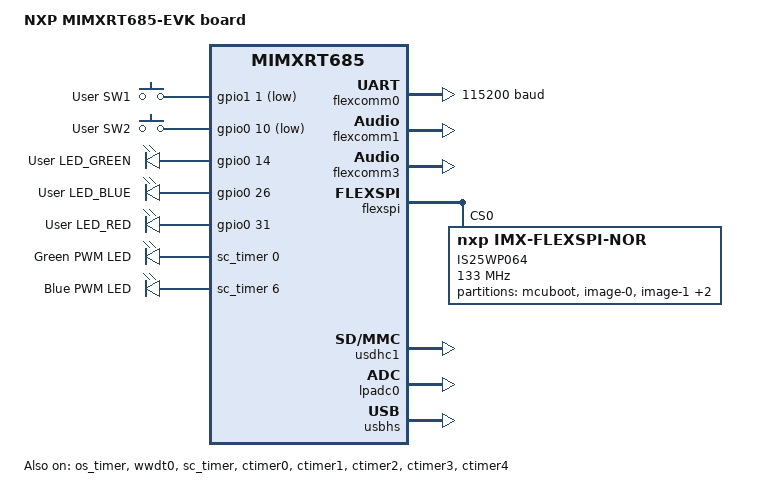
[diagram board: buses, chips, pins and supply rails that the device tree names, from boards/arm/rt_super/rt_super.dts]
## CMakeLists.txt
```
# SPDX-License-Identifier: Apache-2.0


cmake_minimum_required(VERSION 3.13.1)

find_package(Zephyr REQUIRED HINTS $ENV{ZEPHYR_BASE})

project(hello_world)
target_sources(app PRIVATE src/main.c)
```

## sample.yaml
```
sample:
  description: Hello World sample, the simplest Zephyr
    application
  name: hello world
common:
    tags: introduction
    integration_platforms:
      - native_posix
    harness: console
    harness_config:
      type: one_line
      regex:
        - "Hello World! (.*)"
tests:
  sample.basic.helloworld:
    tags: introduction
```

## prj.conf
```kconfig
CONFIG_SHELL_PROMPT_UART="rt_super>"
CONFIG_SHELL_PROMPT_RTT=""

CONFIG_SHELL=y
CONFIG_UART_CONSOLE=n
CONFIG_RTT_CONSOLE=y
CONFIG_USE_SEGGER_RTT=y
CONFIG_SHELL_BACKEND_RTT=y

CONFIG_LOG=y
CONFIG_THREAD_MONITOR=y
CONFIG_REBOOT=y

CONFIG_SHELL_LOG_FORMAT_TIMESTAMP=n
```

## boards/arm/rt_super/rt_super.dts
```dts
/*
 * Copyright (c) 2020, NXP
 *
 * SPDX-License-Identifier: Apache-2.0
 */

/dts-v1/;

#include <nxp/nxp_rt6xx.dtsi>
#include <zephyr/dt-bindings/pwm/pwm.h>
#include <zephyr/dt-bindings/input/input-event-codes.h>
#include "rt_super.dtsi"

/ {
	model = "NXP MIMXRT685-EVK board";
	compatible = "nxp,mimxrt685";

	aliases {
		sw0 = &user_button_1;
		sw1 = &user_button_2;
		led0 = &green_led;
		led1 = &blue_led;
		led2 = &red_led;
		usart-0 = &flexcomm0;
		/* For pwm test suites */
		pwm-0 = &sc_timer;
		pwm-led0 = &green_pwm_led;
		green-pwm-led = &green_pwm_led;
		blue-pwm-led = &blue_pwm_led;
		red-pwm-led = &red_pwm_led;
		watchdog0 = &wwdt0;
	};

	chosen {
		zephyr,flash-controller = &flexspi;
		zephyr,flash = &is25wp064;
		zephyr,code-partition = &slot0_partition;
		zephyr,sram = &sram0;
		zephyr,console = &flexcomm0;
		zephyr,shell-uart = &flexcomm0;
	};

	gpio_keys {
		compatible = "gpio-keys";
		user_button_1: button_0 {
			label = "User SW1";
			gpios = <&gpio1 1 GPIO_ACTIVE_LOW>;
		};
		user_button_2: button_1 {
			label = "User SW2";
			gpios = <&gpio0 10 GPIO_ACTIVE_LOW>;
		};
	};

	leds {
		compatible = "gpio-leds";
		green_led: led_1 {
			gpios = <&gpio0 14 0>;
			label = "User LED_GREEN";
		};
		blue_led: led_2 {
			gpios = <&gpio0 26 0>;
			label = "User LED_BLUE";
		};
		red_led: led_3 {
			gpios = <&gpio0 31 0>;
			label = "User LED_RED";
		};
	};

	pwmleds {
		compatible = "pwm-leds";
		green_pwm_led: green_pwm_led {
			pwms = <&sc_timer 0 PWM_MSEC(20) PWM_POLARITY_NORMAL>;
			label = "Green PWM LED";
			status = "okay";
		};
		blue_pwm_led: blue_pwm_led {
			pwms = <&sc_timer 6 PWM_MSEC(20) PWM_POLARITY_NORMAL>;
			label = "Blue PWM LED";
			status = "okay";
		};
		red_pwm_led: red_pwm_led {
			pwms = <&sc_timer 6 PWM_MSEC(20) PWM_POLARITY_NORMAL>;
			label = "Red PWM LED";
			status = "disabled";
		};
	};

	
	power-states {
	};
};

&cpu0 {
};

/*
 * RT600 EVK board uses OS timer as the kernel timer
 * In case we need to switch to SYSTICK timer, then
 * replace &os_timer with &systick
 */
&os_timer {
	status = "okay";
};

&rtc {
	status = "disabled";
};

&flexcomm0 {
	compatible = "nxp,lpc-usart";
	status = "okay";
	current-speed = <115200>;
	pinctrl-0 = <&pinmux_flexcomm0_usart>;
	pinctrl-names = "default";
};

/* I2S receive channel */
i2s0: &flexcomm1 {
	status = "okay";
	compatible = "nxp,lpc-i2s";
	label = "I2S_0";
	#address-cells = <1>;
	#size-cells = <0>;
	dmas = <&dma0 2>;
	dma-names = "rx";
};

/* I2S transmit channel */
i2s1: &flexcomm3 {
	status = "okay";
	compatible = "nxp,lpc-i2s";
	label = "I2S_1";
	#address-cells = <1>;
	#size-cells = <0>;
	dmas = <&dma0 7>;
	dma-names = "tx";
};

&flexspi {
	status = "okay";
	ahb-prefetch;
	ahb-read-addr-opt;
	rx-clock-source = <1>;

	is25wp064: is25wp064@0 {
		compatible = "nxp,imx-flexspi-nor";
		size = <DT_SIZE_M(8)>;
		label = "IS25WP064";
		reg = <0>;
		spi-max-frequency = <133000000>;
		status = "okay";
		jedec-id = [9d 70 17];
		erase-block-size = <4096>;
		write-block-size = <1>;

		partitions {
			compatible = "fixed-partitions";
			#address-cells = <1>;
			#size-cells = <1>;

			boot_partition: partition@0 {
				label = "mcuboot";
				reg = <0x00000000 DT_SIZE_K(64)>;
			};
			slot0_partition: partition@10000 {
				label = "image-0";
				reg = <0x00010000 DT_SIZE_M(3)>;
			};
			slot1_partition: partition@310000 {
				label = "image-1";
				reg = <0x00310000 DT_SIZE_M(3)>;
			};
			scratch_partition: partition@610000 {
				label = "image-scratch";
				reg = <0x00610000 DT_SIZE_K(128)>;
			};
			storage_partition: partition@630000 {
				label = "storage";
				reg = <0x00630000 DT_SIZE_K(1856)>;
			};
		};
	};
};

&gpio0 {
	status = "okay";
};

&gpio1 {
	status = "okay";
};

&gpio2 {
	status = "okay";
};

&dma0 {
	/*
	 * The total number of dma channels available is defined by
	 * FSL_FEATURE_DMA_NUMBER_OF_CHANNELS in the SoC features file.
	 * Since memory from the heap pool is allocated based on the number
	 * of DMA channels, set this property to as many channels is needed
	 * for the platform. Adjust HEAP_MEM_POOL_SIZE in case you need more
	 * memory.
	 */
	dma-channels = <20>;
	status = "okay";
};

&wwdt0 {
	status = "okay";
};

&user_button_1 {
	status = "okay";
};

&user_button_2 {
	status = "okay";
};

&green_led {
	status = "okay";
};

&blue_led {
	status = "okay";
};

&red_led {
	status = "okay";
};

&sc_timer {
	status = "okay";
};

&usdhc1 {
	status = "okay";
	/* Quick fix for 1.8V SD cards on RT600- disable 1.8V negotiation */
	no-1-8-v;
	pwr-gpios = <&gpio2 10 GPIO_ACTIVE_HIGH>;
};

&lpadc0 {
	status = "okay";
};

zephyr_udc0: &usbhs {
	status = "okay";
};

&ctimer0 {
	status = "okay";
};

&ctimer1 {
	status = "okay";
};

&ctimer2 {
	status = "okay";
};

&ctimer3 {
	status = "okay";
};

&ctimer4 {
	status = "okay";
};
```

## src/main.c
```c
#include <zephyr/kernel.h>
#include <zephyr/sys/printk.h>
#include <zephyr/logging/log.h>
#include <zephyr/shell/shell.h>

LOG_MODULE_REGISTER(main);

static int monkey_handler(const struct shell *shell, 
                      size_t argc,
                      char **argv)
{
   ARG_UNUSED(argc);
   ARG_UNUSED(argv);

   shell_fprintf(shell,SHELL_VT100_COLOR_YELLOW,"\r\n");
   shell_fprintf(shell,SHELL_VT100_COLOR_YELLOW,"                 ██████████████████████████            \r\n");
   shell_fprintf(shell,SHELL_VT100_COLOR_YELLOW,"               ██▒▒▒▒▒▒▒▒▒▒▒▒▒▒▒▒▒▒▒▒▒▒▒▒▒▒██          \r\n");
   shell_fprintf(shell,SHELL_VT100_COLOR_YELLOW,"               ██▒▒▒▒▒▒▒▒▒▒▒▒▒▒▒▒▒▒▒▒▒▒▒▒▒▒▒▒██        \r\n");
   shell_fprintf(shell,SHELL_VT100_COLOR_YELLOW,"             ██▒▒▒▒░░░░░░▒▒▒▒▒▒▒▒▒▒▒▒▒▒▒▒░░░░██        \r\n");
   shell_fprintf(shell,SHELL_VT100_COLOR_YELLOW,"         ██████▒▒░░░░░░░░░░▒▒▒▒▒▒▒▒▒▒▒▒░░░░░░░░██      \r\n");
   shell_fprintf(shell,SHELL_VT100_COLOR_YELLOW,"       ██░░░░░░▒▒░░░░░░░░░░░░░░░░░░░░░░░░░░░░░░██████  \r\n");
   shell_fprintf(shell,SHELL_VT100_COLOR_YELLOW,"       ██░░░░░░▒▒░░░░░░░░░░░░░░░░░░░░░░░░░░░░░░██░░░░██\r\n");
   shell_fprintf(shell,SHELL_VT100_COLOR_YELLOW,"       ██░░░░░░▒▒░░░░░░░░░░██░░░░░░░░██░░░░░░░░██░░░░██\r\n");
   shell_fprintf(shell,SHELL_VT100_COLOR_YELLOW,"         ████░░▒▒░░░░░░░░░░██░░░░░░░░██░░░░░░░░██████  \r\n");
   shell_fprintf(shell,SHELL_VT100_COLOR_YELLOW,"             ██▒▒░░░░░░░░░░░░░░░░░░░░░░░░░░░░░░██      \r\n");
   shell_fprintf(shell,SHELL_VT100_COLOR_YELLOW,"     ████      ██▒▒░░░░░░░░░░░░░░░░░░░░░░░░░░██        \r\n");
   shell_fprintf(shell,SHELL_VT100_COLOR_YELLOW,"   ██    ██      ██▒▒░░░░░░░░░░░░░░░░░░░░░░██          \r\n");
   shell_fprintf(shell,SHELL_VT100_COLOR_YELLOW,"   ██  ██      ██▒▒▒▒▒▒▒▒▒▒▒▒▒▒▒▒▒▒▒▒▒▒▒▒▒▒▒▒██        \r\n");
   shell_fprintf(shell,SHELL_VT100_COLOR_YELLOW,"   ██          ██▒▒▒▒▒▒▒▒░░░░░░░░░░░░▒▒▒▒▒▒▒▒██        \r\n");
   shell_fprintf(shell,SHELL_VT100_COLOR_YELLOW,"     ████    ██▒▒▒▒▒▒▒▒░░░░░░░░░░░░░░░░▒▒▒▒▒▒▒▒██      \r\n");
   shell_fprintf(shell,SHELL_VT100_COLOR_YELLOW,"         ██████▒▒▒▒▒▒▒▒░░░░░░░░░░░░░░░░▒▒▒▒▒▒▒▒██      \r\n");
   shell_fprintf(shell,SHELL_VT100_COLOR_YELLOW,"             ██▒▒▒▒██▒▒░░░░░░░░░░░░░░░░▒▒██▒▒▒▒██      \r\n");
   shell_fprintf(shell,SHELL_VT100_COLOR_YELLOW,"               ██████▒▒▒▒░░░░░░░░░░░░▒▒▒▒██████        \r\n");
   shell_fprintf(shell,SHELL_VT100_COLOR_YELLOW,"                   ██▒▒▒▒▒▒████████▒▒▒▒▒▒██            \r\n");
   shell_fprintf(shell,SHELL_VT100_COLOR_YELLOW,"                   ██░░░░██        ██░░░░██            \r\n");
   shell_fprintf(shell,SHELL_VT100_COLOR_YELLOW,"                   ██████            ██████            \r\n");
   shell_fprintf(shell,SHELL_VT100_COLOR_YELLOW,"\r\n");
   shell_fprintf(shell,SHELL_VT100_COLOR_CYAN,"                          I'm Super\r\n");
      
   return 0;
}


SHELL_CMD_REGISTER(monkey, NULL, "This monkey is super", monkey_handler);

int main(void)
{

	LOG_INF("The RT685 SuperMonkey is running.");

	while(1)
	{  

        k_sleep(K_MSEC(1));
	}
}
```
